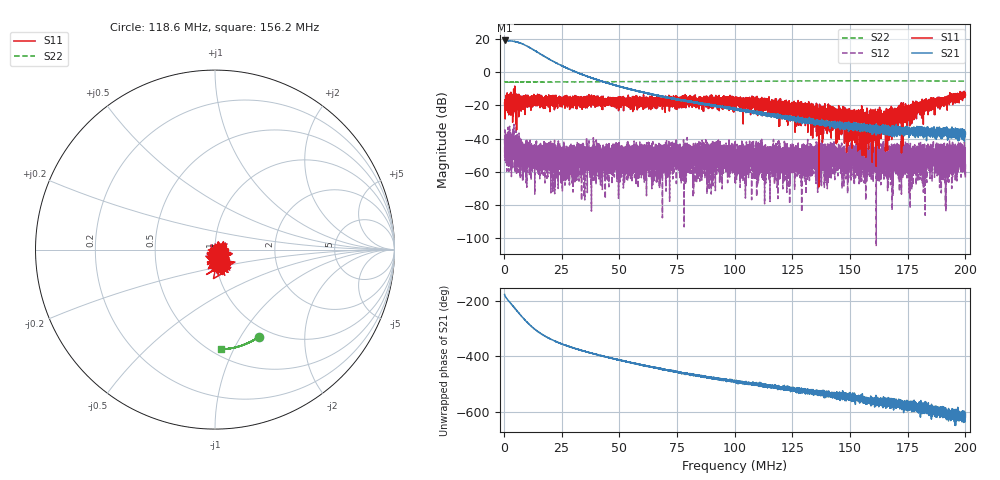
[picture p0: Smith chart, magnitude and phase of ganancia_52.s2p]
# Hz S DB R 50
! CMT, M5065, 19127446, 24.2.4/2
! Date: 11/8/2024 4:15:21 PM
! Data: Format (Calibration Info)
! Freq	S11:dB/Ang(F2)	S21:dB/Ang(F2)	S12:dB/Ang(F2)	S22:dB/Ang(F2)
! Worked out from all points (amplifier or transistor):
!   9000 points, 300 kHz to 200 MHz, reference 50 ohm
!   highest |S21| = 19.3 dB at 588.5 kHz (marker M1)
!   |S21| within 3 dB of that: start of sweep to 9.436 MHz
!   unconditionally stable (mu >= 1): start of sweep to end of sweep
!   at 33.59 MHz: K = 151.13, MAG = 0.3 dB, |S12| = -51.3 dB
!   at 100.2 MHz: K = 3800.44, MAG = -20.6 dB, |S12| = -58.6 dB
!   at 200 MHz: K = 13363.84, MAG = -34.7 dB, |S12| = -55.5 dB
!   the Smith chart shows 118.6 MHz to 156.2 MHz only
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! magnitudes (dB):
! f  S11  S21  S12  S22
! 300 kHz  -18.4  19.2  -40.1  -5.9
! 588.5 kHz  -21.1  19.3  -50.2  -5.8
! 8.932 MHz  -21.7  16.6  -45.2  -5.8
! 33.59 MHz  -19.0  -1.1  -51.3  -5.7
! 66.87 MHz  -17.5  -14.1  -48.6  -5.5
! 74.57 MHz  -20.2  -16.6  -49.5  -5.5
! 77.44 MHz  -17.0  -16.8  -52.4  -5.5
! 80.72 MHz  -19.3  -17.7  -48.6  -5.5
! 89.71 MHz  -17.8  -19.5  -55.0  -5.4
! 92.22 MHz  -15.4  -20.3  -47.5  -5.4
! 94.24 MHz  -18.5  -20.7  -45.5  -5.4
! 98.05 MHz  -20.3  -21.2  -61.5  -5.4
! 100.2 MHz  -18.2  -22.1  -58.6  -5.4
! 133.4 MHz  -31.6  -29.0  -62.4  -5.1
! 151.4 MHz  -37.4  -31.6  -44.0  -5.1
! 154.8 MHz  -25.4  -32.6  -58.8  -5.1
! 157 MHz  -37.4  -33.2  -50.5  -5.1
! 166.7 MHz  -31.5  -32.7  -58.5  -5.1
! 185.7 MHz  -18.6  -35.8  -49.4  -5.2
! 189.7 MHz  -20.3  -37.5  -44.1  -5.2
! 197.8 MHz  -14.3  -34.6  -53.0  -5.3
! 200 MHz  -13.8  -36.5  -55.5  -5.3
